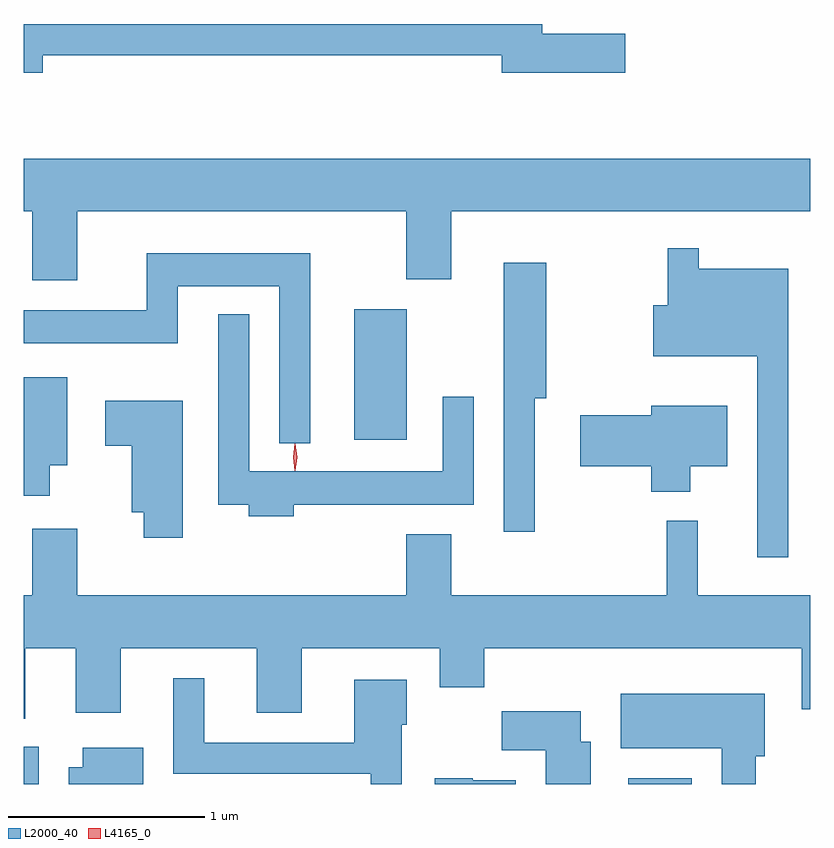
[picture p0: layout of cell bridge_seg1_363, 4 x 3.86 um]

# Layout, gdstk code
import gdstk
lib = gdstk.Library(unit=1e-6, precision=1e-09)
def R(c, l, rs):  # rectangles x0, y0, x1, y1
    for r in rs: c.add(gdstk.rectangle(r[:2], r[2:], *l))
def P(c, l, *ps):  # polygons
    for p in ps: c.add(gdstk.Polygon(p, *l))
L2000_40 = (2000, 40)
L4165_0 = (4165, 0)

bridge_seg1_363 = lib.new_cell('bridge_seg1_363')
R(bridge_seg1_363, L2000_40, [(887.346,867.805,887.424,867.994), (890.421,867.805,890.744,867.834), (889.026,869.556,889.294,870.219)])
P(bridge_seg1_363, L2000_40, [(887.444,871.511),(889.776,871.511),(889.776,871.421),(890.404,871.421),(890.404,871.619),(889.984,871.619),(889.984,871.669),(887.346,871.669),(887.346,871.421),(887.444,871.421)],
  [(887.619,870.716),(889.291,870.716),(889.291,870.371),(889.519,870.371),(889.519,870.716),(891.346,870.716),(891.346,870.984),(887.346,870.984),(887.346,870.716),(887.391,870.716),(887.391,870.366),(887.619,870.366)],
  [(891.234,870.424),(890.779,870.424),(890.779,870.528),(890.621,870.528),(890.621,870.239),(890.546,870.239),(890.546,869.981),(891.076,869.981),(891.076,868.958),(891.234,868.958)],
  [(888.804,870.504),(887.971,870.504),(887.971,870.214),(887.346,870.214),(887.346,870.046),(888.129,870.046),(888.129,870.336),(888.646,870.336),(888.646,869.538),(888.804,869.538)],
  [(889.944,869.766),(890.004,869.766),(890.004,870.454),(889.786,870.454),(889.786,869.088),(889.944,869.088)],
  [(888.719,869.226),(889.634,869.226),(889.634,869.773),(889.476,869.773),(889.476,869.394),(888.494,869.394),(888.494,870.193),(888.336,870.193),(888.336,869.226),(888.491,869.226),(888.491,869.166),(888.719,869.166)],
  [(887.479,869.426),(887.569,869.426),(887.569,869.874),(887.346,869.874),(887.346,869.271),(887.479,869.271)],
  [(888.154,869.754),(887.761,869.754),(887.761,869.526),(887.896,869.526),(887.896,869.186),(887.956,869.186),(887.956,869.056),(888.154,869.056)],
  [(890.734,869.421),(890.924,869.421),(890.924,869.729),(890.536,869.729),(890.536,869.679),(890.176,869.679),(890.176,869.421),(890.536,869.421),(890.536,869.291),(890.734,869.291)],
  [(887.354,868.496),(887.611,868.496),(887.611,868.166),(887.839,868.166),(887.839,868.496),(888.531,868.496),(888.531,868.166),(888.759,868.166),(888.759,868.496),(889.461,868.496),(889.461,868.296),(889.689,868.296),(889.689,868.496),(891.301,868.496),(891.301,868.186),(891.346,868.186),(891.346,868.764),(890.774,868.764),(890.774,869.143),(890.616,869.143),(890.616,868.764),(889.519,868.764),(889.519,869.074),(889.291,869.074),(889.291,868.764),(887.619,868.764),(887.619,869.104),(887.391,869.104),(887.391,868.764),(887.346,868.764),(887.346,868.138),(887.354,868.138)],
  [(889.269,868.106),(889.294,868.106),(889.294,868.334),(889.026,868.334),(889.026,868.014),(888.264,868.014),(888.264,868.343),(888.106,868.343),(888.106,867.856),(889.111,867.856),(889.111,867.805),(889.269,867.805)],
  [(891.069,867.946),(891.114,867.946),(891.114,868.264),(890.381,868.264),(890.381,867.986),(890.896,867.986),(890.896,867.805),(891.069,867.805)],
  [(890.229,868.019),(890.179,868.019),(890.179,868.174),(889.776,868.174),(889.776,867.976),(890.001,867.976),(890.001,867.805),(890.229,867.805)],
  [(887.954,867.989),(887.646,867.989),(887.646,867.889),(887.576,867.889),(887.576,867.805),(887.954,867.805)],
  [(889.849,867.824),(889.63,867.824),(889.63,867.834),(889.436,867.834),(889.436,867.805),(889.849,867.805)])
P(bridge_seg1_363, L4165_0, [(888.726,869.399),(888.725,869.4),(888.716,869.466),(888.725,869.532),(888.726,869.533),(888.726,869.532),(888.736,869.466),(888.726,869.4)],
  [(888.725,869.397),(888.716,869.467),(888.725,869.536),(888.726,869.536),(888.726,869.536),(888.736,869.467),(888.726,869.397),(888.726,869.397)])

lib.write_gds('bridge_seg1_363.gds')
